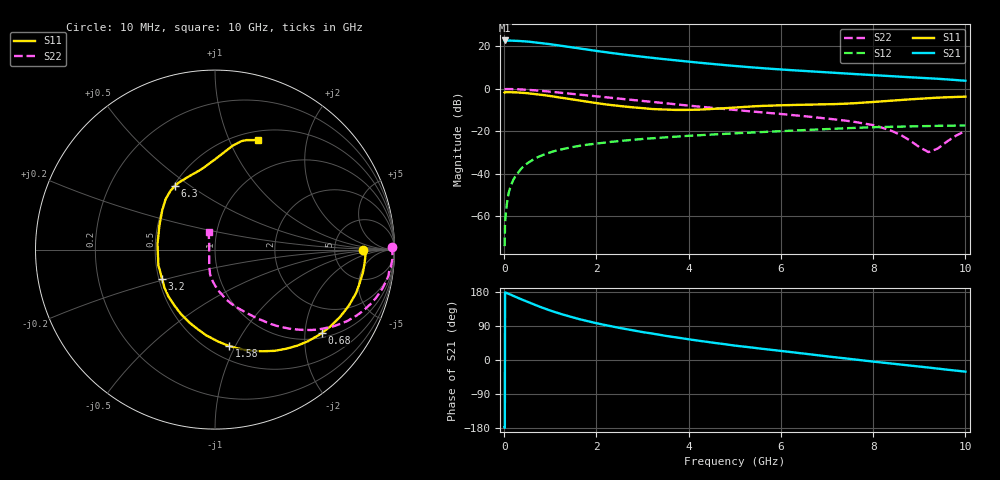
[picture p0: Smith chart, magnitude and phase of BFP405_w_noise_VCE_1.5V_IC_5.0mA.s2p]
! Infineon Technologies  Discrete & RF Semiconductors
! BFP405
! VCE =  1.5 V,  IC =  5.0 mA
! Common Emitter S-Parameters:  Jan 2016
# GHz  S  MA  R  50
!  f  S11  S21  S12  S22
! GHz  MAG  ANG  MAG  ANG  MAG  ANG  MAG  ANG
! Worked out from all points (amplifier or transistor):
!   233 points, 10 MHz to 10 GHz, reference 50 ohm
!   highest |S21| = 22.8 dB at 10 MHz (marker M1)
!   |S21| within 3 dB of that: start of sweep to 1.395 GHz
!   unconditionally stable (mu >= 1): start of sweep to 14.76 MHz; 3.311 GHz to end of sweep
!   at 200 MHz: K = 0.08, MSG = 32.7 dB, |S12| = -42.7 dB
!   at 1.74 GHz: K = 0.56, MSG = 22.5 dB, |S12| = -26.4 dB
!   at 10 GHz: K = 1.48, MAG = 6.4 dB, |S12| = -17.2 dB
!   lowest NFmin = 1.22 dB at 900 MHz
!   S11 on the Smith chart (normalised r, x): 10 MHz: 10, +0; 680 MHz: 1.13, -2.44; 1.58 GHz: 0.62, -0.94; 3.2 GHz: 0.52, -0.19; 6.3 GHz: 0.51, +0.44; 10 GHz: 0.60, +1.29
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0.01  0.8219 0.0  13.75 -177.2  0.0002 24.4  0.984 1.0
0.02  0.8408 -1.0  13.68 178.4  0.0007 93.3  0.9867 -0.2
0.095  0.8368 -5.2  13.68 174.6  0.0034 87.1  0.9898 -2.6
0.24  0.8264 -13.9  13.58 167.0  0.0087 83.5  0.9784 -7.0
0.5  0.791 -28.4  12.98 153.6  0.0177 76.2  0.9515 -14.2
0.68  0.7545 -38.1  12.37 144.9  0.0233 71.4  0.9214 -18.8
0.9  0.7038 -49.6  11.61 134.7  0.0296 66.5  0.8791 -24.0
1.1  0.6547 -59.5  10.85 126.5  0.0347 62.3  0.8383 -28.3
1.3  0.6058 -68.8  10.08 118.9  0.0392 58.7  0.7966 -32.0
1.58  0.5416 -81.8  9.088 109.4  0.0447 54.5  0.7405 -36.6
1.68  0.5218 -86.0  8.756 106.2  0.0465 53.0  0.7217 -38.1
2  0.4626 -100.1  7.795 97.1  0.0519 49.2  0.6653 -42.3
2.4  0.4077 -117.4  6.811 87.0  0.0579 45.2  0.603 -46.9
3.2  0.3366 -151.3  5.372 70.0  0.0688 38.5  0.4954 -54.7
3.4  0.3284 -160.2  5.088 65.9  0.0714 36.9  0.4706 -56.6
4  0.3219 174.5  4.358 54.4  0.0788 32.5  0.4039 -62.6
5.1  0.3707 141.6  3.382 36.7  0.0912 24.8  0.3119 -73.5
6.3  0.4185 122.1  2.723 19.8  0.1048 17.3  0.2395 -83.5
6.8  0.4283 113.3  2.517 12.6  0.111 13.9  0.2116 -87.9
8.4  0.5293 86.4  1.982 -9.4  0.1284 0.7  0.1028 -107.7
9.2  0.6033 78.4  1.775 -19.9  0.1338 -5.5  0.0326 -175.8
10  0.6562 68.4  1.551 -30.7  0.1379 -11.1  0.1028 110.3
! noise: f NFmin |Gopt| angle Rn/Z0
0.9  1.22  0.36  11  0.33
1.8  1.49  0.28  18  0.31
2.4  1.64  0.24  26  0.31
3  1.66  0.21  44  0.29
4  1.83  0.1  66  0.25
5  2.19  0.05  139  0.23
